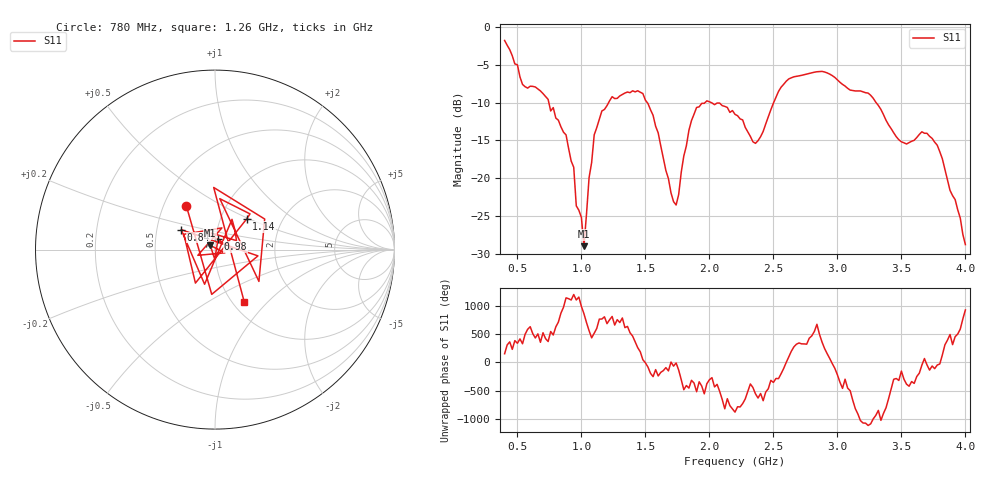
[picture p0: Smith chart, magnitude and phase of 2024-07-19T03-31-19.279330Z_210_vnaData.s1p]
!Created with skrf (http://scikit-rf.org).
# Hz S RI R 50.0
!freq ReS11 ImS11
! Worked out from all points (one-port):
!   181 points, 400 MHz to 4 GHz, reference 50 ohm
!   lowest |S11| = -29.0 dB at 1.02 GHz (marker M1), VSWR 1.07, Z = 47.4 + j2.24 ohm
!   |S11| at or under -10 dB: 745.6 MHz to 1.213 GHz (466.9 MHz wide, 47.7 % of centre); 2.015 GHz to 2.502 GHz (486.5 MHz wide, 21.5 % of centre); 3.303 GHz to end of sweep (the widest 3 of 4)
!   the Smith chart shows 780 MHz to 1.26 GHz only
!   S11 on the Smith chart (normalised r, x): 780 MHz: 0.65, +0.35; 840 MHz: 0.67, +0.16; 980 MHz: 1.03, +0.12; 1.14 GHz: 1.33, +0.48; 1.26 GHz: 1.13, -0.75
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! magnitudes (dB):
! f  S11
! 400 MHz  -1.8
! 540 MHz  -7.6
! 780 MHz  -10.7
! 840 MHz  -13.2
! 860 MHz  -13.9
! 940 MHz  -18.6
! 960 MHz  -23.7
! 980 MHz  -24.3
! 1.02 GHz  -29.0
! 1.06 GHz  -19.9
! 1.1 GHz  -14.3
! 1.14 GHz  -12.2
! 1.26 GHz  -9.5
! 1.3 GHz  -9.1
! 1.48 GHz  -8.8
! 1.6 GHz  -14.0
! 1.72 GHz  -23.1
! 1.76 GHz  -22.2
! 1.84 GHz  -13.7
! 1.9 GHz  -10.6
! 2.2 GHz  -11.6
! 2.36 GHz  -15.4
! 2.66 GHz  -6.6
! 3.1 GHz  -8.3
! 3.26 GHz  -9.0
! 3.56 GHz  -15.3
! 3.78 GHz  -15.6
! 4 GHz  -28.8
